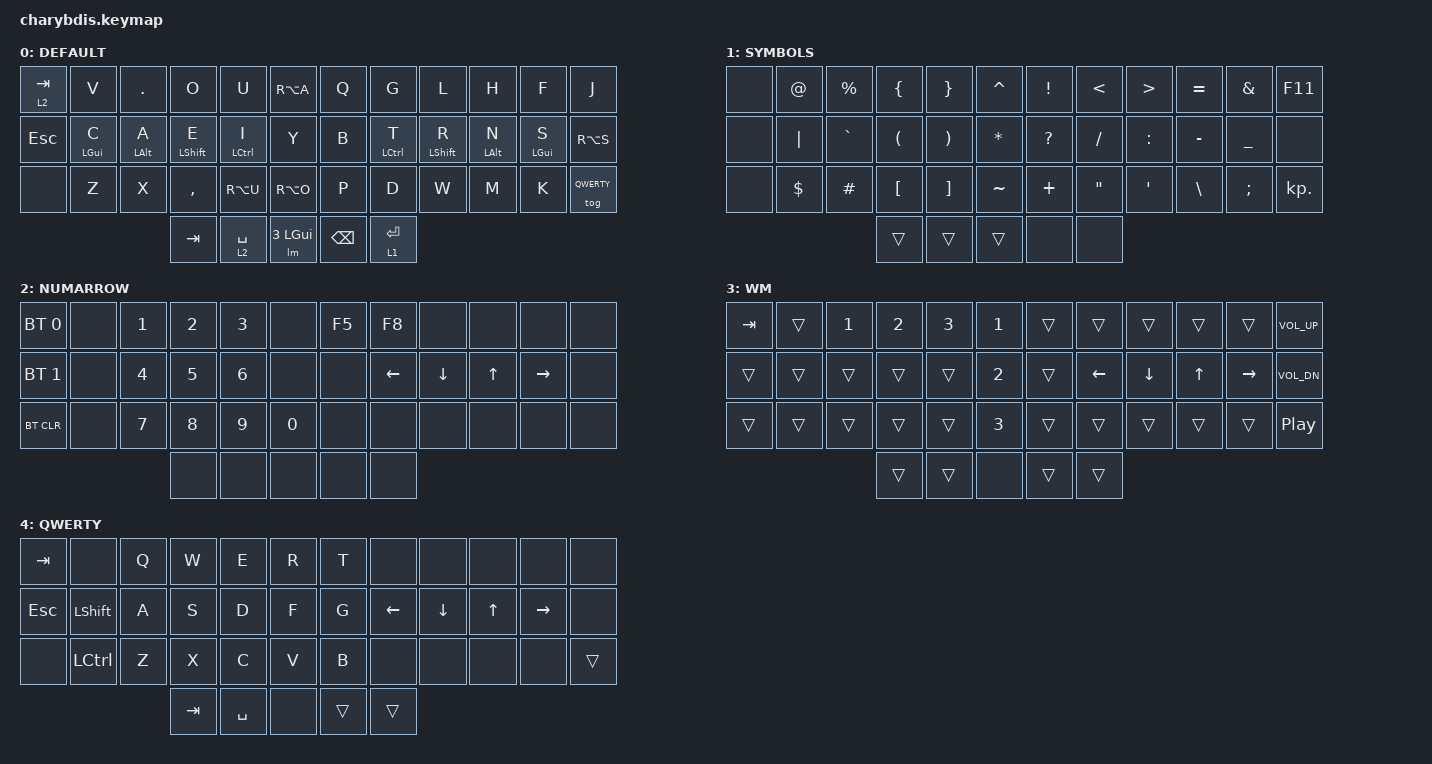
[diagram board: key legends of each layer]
#include <behaviors.dtsi>
#include <dt-bindings/zmk/mouse.h>
#include <dt-bindings/zmk/bt.h>
#include <dt-bindings/zmk/keys.h>
#include <dt-bindings/zmk/outputs.h>

#define DEFAULT  0
#define SYMBOLS  1
#define NUMARROW 2
#define WM       3
#define QWERTY   4

#define U_TAPPING_TERM 200

/ {

    behaviors {
		/* home row */
        u_mt: u_mt {
            compatible = "zmk,behavior-hold-tap";
            label = "u_mt";
            #binding-cells = <2>;
            tapping_term_ms = <U_TAPPING_TERM>;
            flavor = "tap-preferred";
            bindings = <&kp>, <&kp>;
        };
    };

    /**
     * Temporarily switches to a layer (`&mo`) while a modifier is held.
     * Analogous to QMK's `LM()`, using a parameterized macro.
     *
     * Params:
     *  1. Layer to switch to
     *  2. Modifier to press while layer is active
     *
     * Example:
     *  `&lm NUM_LAYER LSHIFT`
     */
    lm: lm {
        compatible = "zmk,behavior-macro-two-param";
        wait-ms = <0>;
        tap-ms = <0>;
        #binding-cells = <2>;
        bindings
            = <&macro_param_1to1>
            , <&macro_press &mo MACRO_PLACEHOLDER>
            , <&macro_param_2to1>
            , <&macro_press &kp MACRO_PLACEHOLDER>
            , <&macro_pause_for_release>
            , <&macro_param_2to1>
            , <&macro_release &kp MACRO_PLACEHOLDER>
            , <&macro_param_1to1>
            , <&macro_release &mo MACRO_PLACEHOLDER>
            ;
    };

	combos {
		compatible = "zmk,combos";
	}; 

    keymap {
        compatible = "zmk,keymap";

        default_layer {
            label = "DEFAULT";
            bindings = <
            &lt 2 TAB     &kp V         &kp DOT        &kp O            &kp U             &kp RA(A)      &kp Q          &kp G          &kp L          &kp H         &kp F         &kp J
            &kp ESC       &u_mt LGUI C  &u_mt LALT A   &u_mt LSHFT E    &u_mt LCTRL I     &kp Y          &kp B          &u_mt LCTRL T  &u_mt LSHFT R  &u_mt LALT N  &u_mt LGUI S  &kp RA(S)
            &none         &kp Z         &kp X          &kp COMMA        &kp RA(U)         &kp RA(O)      &kp P          &kp D          &kp W          &kp M         &kp K         &tog QWERTY
                                                       &kp TAB          &lt 2 SPACE       &lm 3 LGUI     &kp BACKSPACE  &lt 1 RETURN
            >;
        };
        symbol_layer {
            label = "SYMBOLS";
            bindings = <
            &none   &kp AT     &kp PRCNT   &kp LBRC   &kp RBRC   &kp CARET          &kp EXCL   &kp LT     &kp GT     &kp EQUAL   &kp AMPS   &kp F11
            &none   &kp PIPE   &kp GRAVE   &kp LPAR   &kp RPAR   &kp STAR           &kp QMARK  &kp SLASH  &kp COLON  &kp MINUS   &kp UNDER  &none
            &none   &kp DLLR   &kp HASH    &kp LBKT   &kp RBKT   &kp TILDE          &kp PLUS   &kp DQT    &kp SQT    &kp BSLH    &kp SEMI   &kp KP_DOT
                                           &trans     &trans     &trans             &none      &none
            >;
        };

        numarrow_layer {
            label = "NUMARROW";
            bindings = <
            &bt BT_SEL 0  &none  &kp N1   &kp N2   &kp N3   &none             &kp F5 &kp F8    &none     &none   &none      &none
            &bt BT_SEL 1  &none  &kp N4   &kp N5   &kp N6   &none             &none  &kp LEFT  &kp DOWN  &kp UP  &kp RIGHT  &none
            &bt BT_CLR    &none  &kp N7   &kp N8   &kp N9   &kp N0            &none  &none     &none     &none   &none      &none
                                          &none    &none    &none             &none  &none
            >;
        };

        wm_layer {
            label = "WM";
            bindings = <
			&kp TAB &trans &kp N1 &kp N2 &kp N3 &kp N1      &trans &trans    &trans    &trans  &trans    &kp C_VOL_UP 
            &trans  &trans &trans &trans &trans &kp N2       &trans &kp LEFT  &kp DOWN  &kp UP  &kp RIGHT &kp C_VOL_DN
		    &trans  &trans &trans &trans &trans &kp N3       &trans &trans    &trans    &trans  &trans    &kp C_PP
                                  &trans &trans &none        &trans &trans

            >;
        };

		qwerty_layer {
			label = "QWERTY";
			bindings = <
            &kp TAB   &none     &kp Q    &kp W    &kp E      &kp R       &kp T         &none     &none     &none   &none      &none
            &kp ESC &kp LSHFT &kp A    &kp S    &kp D      &kp F       &kp G         &kp LEFT  &kp DOWN  &kp UP  &kp RIGHT  &none
            &none   &kp LCTRL &kp Z    &kp X    &kp C      &kp V       &kp B         &none     &none     &none   &none      &trans
                                       &kp TAB  &kp SPACE  &none       &trans        &trans
			>;
		};

    };
};
